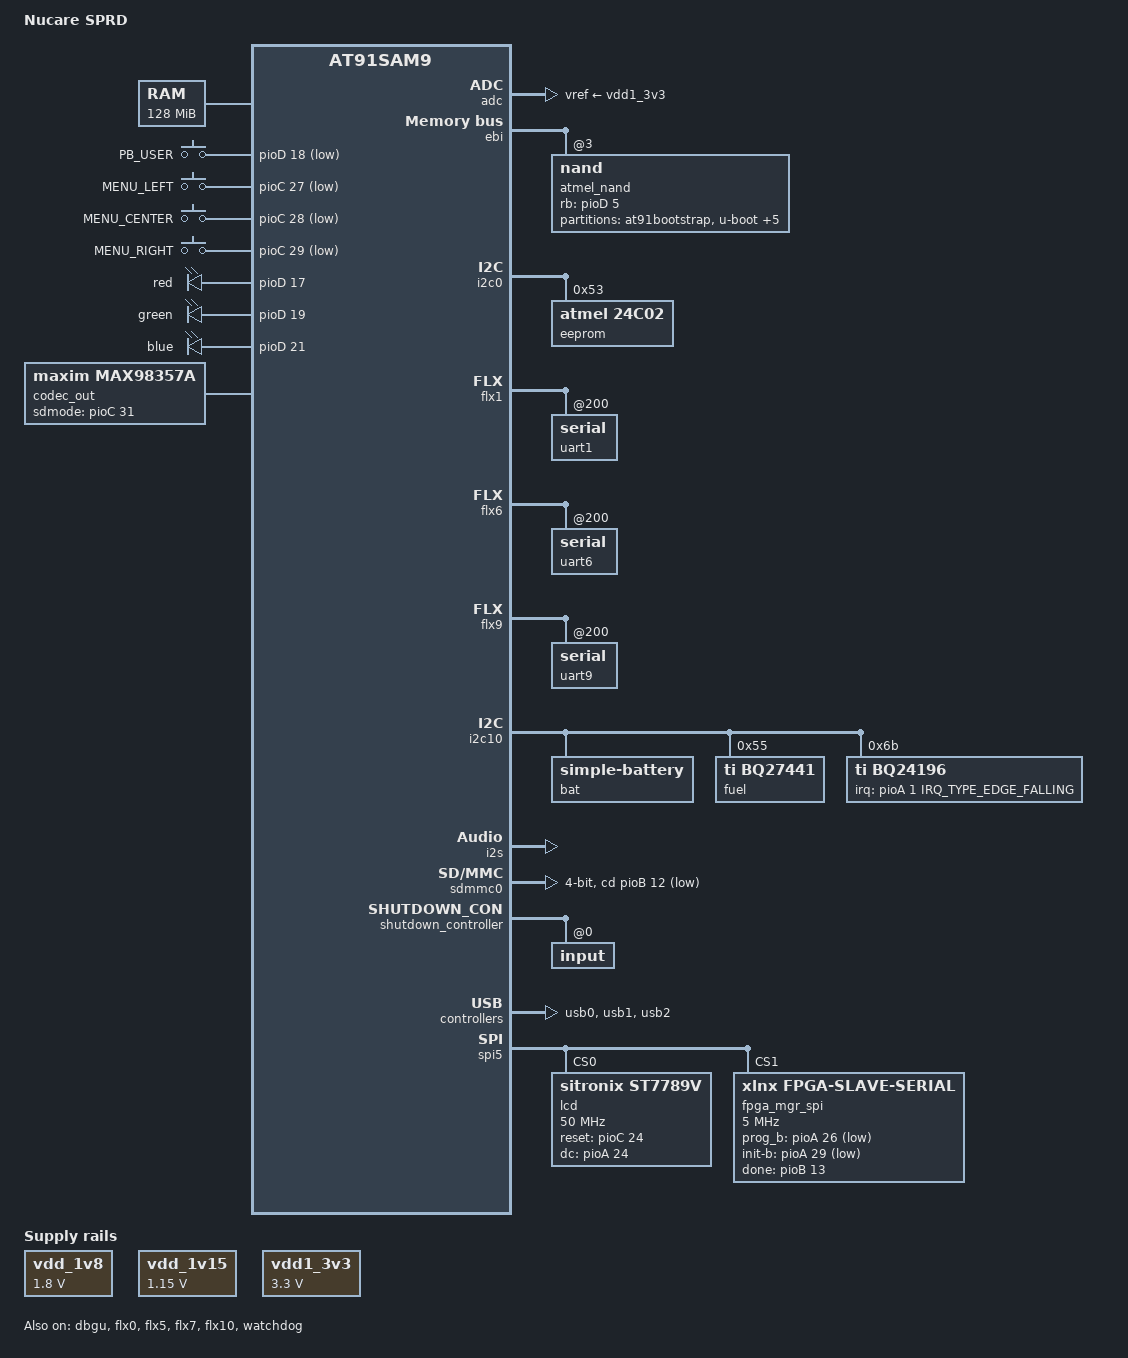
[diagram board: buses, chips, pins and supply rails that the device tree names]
// SPDX-License-Identifier: (GPL-2.0+ OR MIT)
/*
 * nc-sprd.dts - Device Tree file for Nucare SPRD board
 *
 *
 * Author: Nam Tran <nam.tran@nucaremed.com>
 */
/dts-v1/;
#include "sam9x60.dtsi"
#include <dt-bindings/input/input.h>

/ {
	model = "Nucare SPRD";
	compatible = "microchip,sam9x60-curiosity", "microchip,sam9x60", "atmel,at91sam9";

	aliases {
		i2c0 = &i2c0;
		i2c1 = &i2c6;
		serial1 = &uart6;		// Bluetooth
		serial2 = &uart1;		// FPGA
		serial3 = &uart9;		// GPS
		serial4 = &uart3;		// LTE
		// serial2 = &uart7;
	};

	chosen {
		stdout-path = "serial0:115200n8";
	};

	memory@20000000 {
		reg = <0x20000000 0x8000000>;
	};

	clocks {
		slow_xtal {
			clock-frequency = <32768>;
		};

		main_xtal {
			clock-frequency = <24000000>;
		};
	};

	keys: gpio-keys {
		compatible = "gpio-keys";
		pinctrl-names = "default";
		pinctrl-0 = <&pinctrl_key_gpio_default>;
		status = "okay";

		btn_user: button-user {
			label = "PB_USER";
			gpios = <&pioD 18 GPIO_ACTIVE_LOW>;
			linux,code = <KEY_PROG1>;
			wakeup-source;
		};

		btn_left: button-left {
			label = "MENU_LEFT";
			gpios = <&pioC 27 GPIO_ACTIVE_LOW>;
			linux,code = <BTN_TRIGGER_HAPPY1>;
			wakeup-source;
		};

		btn_center: button-center {
			label = "MENU_CENTER";
			gpios = <&pioC 28 GPIO_ACTIVE_LOW>;
			linux,code = <BTN_TRIGGER_HAPPY2>;
			wakeup-source;
		};

		btn_right: button-right {
			label = "MENU_RIGHT";
			gpios = <&pioC 29 GPIO_ACTIVE_LOW>;
			linux,code = <BTN_TRIGGER_HAPPY3>;
			wakeup-source;
		};
	};

	leds {
		compatible = "gpio-leds";
		pinctrl-names = "default";
		pinctrl-0 = <&pinctrl_gpio_leds>;
		status = "okay";

		red {
			label = "red";
			gpios = <&pioD 17 GPIO_ACTIVE_HIGH>;
		};

		green {
			label = "green";
			gpios = <&pioD 19 GPIO_ACTIVE_HIGH>;
		};

		blue {
			label = "blue";
			gpios = <&pioD 21 GPIO_ACTIVE_HIGH>;
			linux,default-trigger = "heartbeat";
		};
	};

	regulators: regulators {
		compatible = "simple-bus";
		#address-cells = <1>;
		#size-cells = <0>;

		vdd_1v8: fixed-regulator-vdd_1v8@0 {
			compatible = "regulator-fixed";
			regulator-name = "VDD_1V8";
			regulator-min-microvolt = <1800000>;
			regulator-max-microvolt = <1800000>;
			regulator-always-on;
			status = "okay";
		};

		vdd_1v15: fixed-regulator-vdd_1v15@1 {
			compatible = "regulator-fixed";
			regulator-name = "VDD_1V15";
			regulator-min-microvolt = <1150000>;
			regulator-max-microvolt = <1150000>;
			regulator-always-on;
			status = "okay";
		};

		vdd1_3v3: fixed-regulator-vdd1_3v3@2 {
			compatible = "regulator-fixed";
			regulator-name = "VDD1_3V3";
			regulator-min-microvolt = <3300000>;
			regulator-max-microvolt = <3300000>;
			regulator-always-on;
			status = "okay";
		};
	};

	sound {
		compatible = "simple-audio-card";
		simple-audio-card,name = "1334 Card";
		simple-audio-card,format = "i2s";
		simple-audio-card,bitclock-master = <&i2s>;
		simple-audio-card,frame-master = <&i2s>;
		simple-audio-card,cpu {
				#sound-dai-cells = <0>;
				sound-dai = <&i2s>;
			};
		codec_dai: simple-audio-card,codec {
			#sound-dai-cells = <0>;
			sound-dai = <&codec_out>;
		};
	};

	codec_out: max98357a {
                compatible = "maxim,max98357a";
                // #address-cells = <0>;
                // #size-cells = <0>;
                #sound-dai-cells = <0>;
                sdmode-gpios = <&pioC 31 GPIO_ACTIVE_HIGH>;
                sdmode-delay = <5>;
                status = "okay";
            };
};

&adc {
	vddana-supply = <&vdd1_3v3>;
	vref-supply = <&vdd1_3v3>;
	pinctrl-names = "default";
	pinctrl-0 = <&pinctrl_adc_default &pinctrl_adtrg_default>;
	status = "okay";
};

&can0 {
	pinctrl-names = "default";
	pinctrl-0 = <&pinctrl_can0_rx_tx>;
	status = "disabled"; /* Conflict with dbgu. */
};

&can1 {
	pinctrl-names = "default";
	pinctrl-0 = <&pinctrl_can1_rx_tx>;
	status = "disabled";
};

&dbgu {
	pinctrl-names = "default";
	pinctrl-0 = <&pinctrl_dbgu>;
	status = "okay"; /* Conflict with can0. */
};

&ebi {
	pinctrl-names = "default";
	pinctrl-0 = <&pinctrl_ebi_addr_nand &pinctrl_ebi_data_0_7>;
	status = "okay";

	nand_controller: nand-controller {
		pinctrl-names = "default";
		pinctrl-0 = <&pinctrl_nand_oe_we &pinctrl_nand_cs &pinctrl_nand_rb>;
		status = "okay";

		nand@3 {
			reg = <0x3 0x0 0x800000>;
			rb-gpios = <&pioD 5 GPIO_ACTIVE_HIGH>;
			cs-gpios = <&pioD 4 GPIO_ACTIVE_HIGH>;
			nand-bus-width = <8>;
			nand-ecc-mode = "hw";
			nand-ecc-strength = <8>;
			nand-ecc-step-size = <512>;
			nand-on-flash-bbt;
			label = "atmel_nand";

			partitions {
				compatible = "fixed-partitions";
				#address-cells = <1>;
				#size-cells = <1>;

				at91bootstrap@0 {
					label = "at91bootstrap";
					reg = <0x0 0x40000>;
				};

				uboot@40000 {
					label = "u-boot";
					reg = <0x40000 0xc0000>;
				};

				ubootenvred@100000 {
					label = "U-Boot Env Redundant";
					reg = <0x100000 0x40000>;
				};

				ubootenv@140000 {
					label = "U-Boot Env";
					reg = <0x140000 0x40000>;
				};

				dtb@180000 {
					label = "device tree";
					reg = <0x180000 0x80000>;
				};

				kernel@200000 {
					label = "kernel";
					reg = <0x200000 0x600000>;
				};

				rootfs@800000 {
					label = "rootfs";
					reg = <0x800000 0x1f800000>;
				};
			};
		};
	};
};

&flx0 {
	atmel,flexcom-mode = <ATMEL_FLEXCOM_MODE_TWI>;
	status = "okay";

	i2c0: i2c@600 {
//		dmas = <0>, <0>;
		pinctrl-names = "default";
		pinctrl-0 = <&pinctrl_flx0_default>;
//		i2c-analog-filter;
//		i2c-digital-filter;
//		i2c-digital-filter-width-ns = <35>;
		status = "okay";

		eeprom@53 {
			compatible = "atmel,24c02";
			reg = <0x53>;
			pagesize = <16>;
			status = "okay";
		};
	};
};

&flx1 {
	atmel,flexcom-mode = <ATMEL_FLEXCOM_MODE_USART>;
	status = "okay";

	uart1: serial@200 {
		#address-cells = <1>;
		#size-cells = <0>;
		pinctrl-names = "default";
		pinctrl-0 = <&pinctrl_flx1_default>;
		status = "okay";
	};
};

&flx5 {
	atmel,flexcom-mode = <ATMEL_FLEXCOM_MODE_SPI>;
	status = "okay";
};

&flx6 {
	atmel,flexcom-mode = <ATMEL_FLEXCOM_MODE_USART>;
	status = "okay";

	i2c6: i2c@600 {
		dmas = <0>, <0>;
		pinctrl-names = "default";
		pinctrl-0 = <&pinctrl_flx6_default>;
		i2c-analog-filter;
		i2c-digital-filter;
		i2c-digital-filter-width-ns = <35>;
		status = "disabled";
	};

	// Bluetooth uart
	uart6: serial@200 {
		#address-cells = <1>;
		#size-cells = <0>;
		pinctrl-names = "default";
		pinctrl-0 = <&pinctrl_flx6_uart>;
		status = "okay";
	};
};

&flx7 {
	atmel,flexcom-mode = <ATMEL_FLEXCOM_MODE_USART>;
	status = "okay";

	uart7: serial@200 {
		#address-cells = <1>;
		#size-cells = <0>;
		pinctrl-names = "default";
		pinctrl-0 = <&pinctrl_flx7_default>;
		status = "disabled";
	};
};

&flx9 {
	atmel,flexcom-mode = <ATMEL_FLEXCOM_MODE_USART>;
	status = "okay";

	// Uart port for GPS
	uart9: serial@200 {
		#address-cells = <1>;
		#size-cells = <0>;
		pinctrl-names = "default";
		pinctrl-0 = <&pinctrl_flx9_default>;
		status = "okay";
	};
};

&flx10 {
	atmel,flexcom-mode = <ATMEL_FLEXCOM_MODE_TWI>;
	status = "okay";

	i2c10: i2c@600 {
		dmas = <0>, <0>;
		#address-cells = <1>;
		#size-cells = <0>;
		pinctrl-names = "default";
		pinctrl-0 = <&pinctrl_flx10_default>;
		status = "okay";

		bat: battery {
			compatible = "simple-battery";
			precharge-current-microamp = <150000>;
			charge-term-current-microamp = <150000>;
			constant-charge-current-max-microamp = <2000000>;
			constant-charge-voltage-max-microvolt = <4200000>;

			voltage-max-design-microvolt = <4200000>;
			voltage-min-design-microvolt = <2800000>;
        	energy-full-design-microwatt-hours = <12060000>;
        	charge-full-design-microamp-hours = <3350000>;
    	};

		fuel: fuel@55 {
			compatible = "ti,bq27441";
			reg = <0x55>;
			monitored-battery = <&bat>;
		};

		bq24196: charger@6b {
			compatible = "ti,bq24196";
			reg = <0x6b>;
			interrupt-parent = <&pioA>;
			interrupts = <1 IRQ_TYPE_EDGE_FALLING 1>;
	//		pinctrl-names = "default";
	//		pinctrl-0 = <&charger_int &chg_ctl &otg_en>;
	//		pinctrl-0 = <&pinctrl_usba_vbus>;
			ti,system-minimum-microvolt = <3200000>;
			monitored-battery = <&bat>;
			omit-battery-class;

			usb_otg_vbus: usb-otg-vbus { };
		};
	};
};

&i2s {
	pinctrl-names = "default";
	pinctrl-0 = <&pinctrl_i2s_default>;
	#sound-dai-cells = <0>;
	status = "okay"; /* Conflict with QSPI. */
};

&macb0 {
	phy-mode = "rmii";
	#address-cells = <1>;
	#size-cells = <0>;
	pinctrl-names = "default";
	pinctrl-0 = <&pinctrl_macb0_rmii>;
	status = "disabled";

	ethernet-phy@0 {
		reg = <0x0>;
	};
};

&pinctrl {
	adc {
		pinctrl_adc_default: adc_default {
			atmel,pins = <AT91_PIOB 14 AT91_PERIPH_A AT91_PINCTRL_NONE>;
		};

		pinctrl_adtrg_default: adtrg_default {
			atmel,pins = <AT91_PIOB 18 AT91_PERIPH_B AT91_PINCTRL_PULL_UP>;
		};
	};

	can0 {
		pinctrl_can0_rx_tx: can0_rx_tx {
			atmel,pins =
				<AT91_PIOA 9 AT91_PERIPH_B AT91_PINCTRL_NONE	/* CANRX0 */
				 AT91_PIOA 10 AT91_PERIPH_B AT91_PINCTRL_NONE	/* CANTX0 */
				 AT91_PIOC 9 AT91_PERIPH_GPIO AT91_PINCTRL_PULL_DOWN>;	/* Enable CAN Transceivers */
		};
	};

	can1 {
		pinctrl_can1_rx_tx: can1_rx_tx {
			atmel,pins =
				<AT91_PIOA 6 AT91_PERIPH_B AT91_PINCTRL_NONE	/* CANRX1 */
				 AT91_PIOA 5 AT91_PERIPH_B AT91_PINCTRL_NONE	/* CANTX1 */
				 AT91_PIOB 17 AT91_PERIPH_GPIO AT91_PINCTRL_PULL_DOWN>;	/* Enable CAN Transceivers */
		};
	};

	dbgu {
		pinctrl_dbgu: dbgu-0 {
			atmel,pins = <AT91_PIOA 9 AT91_PERIPH_A AT91_PINCTRL_PULL_UP
				      AT91_PIOA 10 AT91_PERIPH_A AT91_PINCTRL_NONE>;
		};
	};

	ebi {
		pinctrl_ebi_data_0_7: ebi-data-lsb-0 {
			atmel,pins =
				<AT91_PIOD 6 AT91_PERIPH_A (AT91_PINCTRL_NONE | AT91_PINCTRL_SLEWRATE_DIS)
				 AT91_PIOD 7 AT91_PERIPH_A (AT91_PINCTRL_NONE | AT91_PINCTRL_SLEWRATE_DIS)
				 AT91_PIOD 8 AT91_PERIPH_A (AT91_PINCTRL_NONE | AT91_PINCTRL_SLEWRATE_DIS)
				 AT91_PIOD 9 AT91_PERIPH_A (AT91_PINCTRL_NONE | AT91_PINCTRL_SLEWRATE_DIS)
				 AT91_PIOD 10 AT91_PERIPH_A (AT91_PINCTRL_NONE | AT91_PINCTRL_SLEWRATE_DIS)
				 AT91_PIOD 11 AT91_PERIPH_A (AT91_PINCTRL_NONE | AT91_PINCTRL_SLEWRATE_DIS)
				 AT91_PIOD 12 AT91_PERIPH_A (AT91_PINCTRL_NONE | AT91_PINCTRL_SLEWRATE_DIS)
				 AT91_PIOD 13 AT91_PERIPH_A (AT91_PINCTRL_NONE | AT91_PINCTRL_SLEWRATE_DIS)>;
		};

		pinctrl_ebi_data_0_15: ebi-data-msb-0 {
			atmel,pins =
				<AT91_PIOD 6 AT91_PERIPH_A AT91_PINCTRL_NONE
				 AT91_PIOD 7 AT91_PERIPH_A AT91_PINCTRL_NONE
				 AT91_PIOD 8 AT91_PERIPH_A AT91_PINCTRL_NONE
				 AT91_PIOD 9 AT91_PERIPH_A AT91_PINCTRL_NONE
				 AT91_PIOD 10 AT91_PERIPH_A AT91_PINCTRL_NONE
				 AT91_PIOD 11 AT91_PERIPH_A AT91_PINCTRL_NONE
				 AT91_PIOD 12 AT91_PERIPH_A AT91_PINCTRL_NONE
				 AT91_PIOD 13 AT91_PERIPH_A AT91_PINCTRL_NONE
				 AT91_PIOD 14 AT91_PERIPH_A AT91_PINCTRL_NONE
				 AT91_PIOD 15 AT91_PERIPH_A AT91_PINCTRL_NONE
				 AT91_PIOD 16 AT91_PERIPH_A AT91_PINCTRL_NONE
				 AT91_PIOD 17 AT91_PERIPH_A AT91_PINCTRL_NONE
				 AT91_PIOD 18 AT91_PERIPH_A AT91_PINCTRL_NONE
				 AT91_PIOD 19 AT91_PERIPH_A AT91_PINCTRL_NONE
				 AT91_PIOD 20 AT91_PERIPH_A AT91_PINCTRL_NONE
				 AT91_PIOD 21 AT91_PERIPH_A AT91_PINCTRL_NONE>;
		};

		pinctrl_ebi_addr_nand: ebi-addr-0 {
			atmel,pins =
				<AT91_PIOD 2 AT91_PERIPH_A (AT91_PINCTRL_NONE | AT91_PINCTRL_SLEWRATE_DIS)
				 AT91_PIOD 3 AT91_PERIPH_A (AT91_PINCTRL_NONE | AT91_PINCTRL_SLEWRATE_DIS)>;
		};
	};

	flexcom {
		pinctrl_flx0_default: flx0_twi {
			atmel,pins =
				<AT91_PIOA 0 AT91_PERIPH_A AT91_PINCTRL_NONE
				 AT91_PIOA 1 AT91_PERIPH_A AT91_PINCTRL_NONE>;
		};
		pinctrl_flx3_default: flx3_twi {
			atmel,pins =
				<AT91_PIOC 22 AT91_PERIPH_B AT91_PINCTRL_PULL_UP
				 AT91_PIOC 23 AT91_PERIPH_B AT91_PINCTRL_PULL_UP>;
		};
		pinctrl_flx3_uart: flx3_uart {
			atmel,pins =
				<AT91_PIOC 22 AT91_PERIPH_B AT91_PINCTRL_NONE
				 AT91_PIOC 23 AT91_PERIPH_B AT91_PINCTRL_NONE>;
		};
		pinctrl_lcd: lcd_spi {
			atmel,pins =
				<AT91_PIOA 21 AT91_PERIPH_B AT91_PINCTRL_NONE
				 AT91_PIOA 22 AT91_PERIPH_B AT91_PINCTRL_NONE
				 AT91_PIOA 23 AT91_PERIPH_B AT91_PINCTRL_NONE
				 AT91_PIOA 8 AT91_PERIPH_B AT91_PINCTRL_NONE
				 AT91_PIOA 7 AT91_PERIPH_B AT91_PINCTRL_NONE>;
		};

		pinctrl_spi5_no_cs: spi5_pins_no_cs {
			atmel,pins =
				<AT91_PIOA 21 AT91_PERIPH_B AT91_PINCTRL_NONE
				 AT91_PIOA 22 AT91_PERIPH_B AT91_PINCTRL_NONE
				 AT91_PIOA 23 AT91_PERIPH_B AT91_PINCTRL_NONE>;
		};

		pinctrl_flx6_default: flx6_twi {
			atmel,pins =
				<AT91_PIOA 30 AT91_PERIPH_A AT91_PINCTRL_PULL_UP
				 AT91_PIOA 31 AT91_PERIPH_A AT91_PINCTRL_PULL_UP>;
		};

		pinctrl_flx6_uart: flx6_uart {
			atmel,pins =
				<AT91_PIOA 30 AT91_PERIPH_A AT91_PINCTRL_NONE
				 AT91_PIOA 31 AT91_PERIPH_A AT91_PINCTRL_NONE>;
		};

		pinctrl_flx1_default: flx1_usart {
			atmel,pins =
				<AT91_PIOA 5 AT91_PERIPH_A AT91_PINCTRL_NONE
				 AT91_PIOA 6 AT91_PERIPH_A AT91_PINCTRL_NONE>;
		};

		pinctrl_flx7_default: flx7_usart {
			atmel,pins =
				<AT91_PIOC 0 AT91_PERIPH_C AT91_PINCTRL_NONE
				 AT91_PIOC 1 AT91_PERIPH_C AT91_PINCTRL_NONE>;
		};

		pinctrl_flx9_default: flx9_usart {
			atmel,pins =
				<AT91_PIOC 8 AT91_PERIPH_C AT91_PINCTRL_NONE
				 AT91_PIOC 9 AT91_PERIPH_C AT91_PINCTRL_NONE>;
		};

		pinctrl_flx10_default: flx10_twi {
			atmel,pins =
				<AT91_PIOC 16 AT91_PERIPH_C AT91_PINCTRL_PULL_UP
				 AT91_PIOC 17 AT91_PERIPH_C AT91_PINCTRL_PULL_UP>;
		};
	};

	i2s {
		pinctrl_i2s_default: i2s {
			atmel,pins =
				<AT91_PIOB 19 AT91_PERIPH_B AT91_PINCTRL_NONE		/* I2SCK */
				 AT91_PIOB 20 AT91_PERIPH_B AT91_PINCTRL_NONE		/* I2SWS */
				 AT91_PIOB 21 AT91_PERIPH_B AT91_PINCTRL_NONE		/* I2SDIN */
				 AT91_PIOB 22 AT91_PERIPH_B AT91_PINCTRL_NONE		/* I2SDOUT */
				 AT91_PIOB 23 AT91_PERIPH_B AT91_PINCTRL_NONE		/* I2SMCK */
				 AT91_PIOC 31 AT91_PERIPH_GPIO AT91_PINCTRL_PULL_UP		// Audio_EN
				>;
		};
	};

	gpio_keys {
		pinctrl_key_gpio_default: pinctrl_key_gpio {
			atmel,pins =
			<
			AT91_PIOD 18 AT91_PERIPH_GPIO AT91_PINCTRL_NONE
			AT91_PIOC 27 AT91_PERIPH_GPIO AT91_PINCTRL_NONE
			AT91_PIOC 28 AT91_PERIPH_GPIO AT91_PINCTRL_NONE
			AT91_PIOC 29 AT91_PERIPH_GPIO AT91_PINCTRL_NONE>;
		};
	};

	leds {
		pinctrl_gpio_leds: gpio_leds {
			atmel,pins = <AT91_PIOD 17 AT91_PERIPH_GPIO AT91_PINCTRL_NONE
				      AT91_PIOD 19 AT91_PERIPH_GPIO AT91_PINCTRL_NONE
				      AT91_PIOD 21 AT91_PERIPH_GPIO AT91_PINCTRL_NONE>;
		};
	};

	macb0 {
		pinctrl_macb0_rmii: macb0_rmii-0 {
			atmel,pins =
				<AT91_PIOB 0 AT91_PERIPH_A AT91_PINCTRL_NONE	/* PB0 periph A */
				 AT91_PIOB 1 AT91_PERIPH_A AT91_PINCTRL_NONE	/* PB1 periph A */
				 AT91_PIOB 2 AT91_PERIPH_A AT91_PINCTRL_NONE	/* PB2 periph A */
				 AT91_PIOB 3 AT91_PERIPH_A AT91_PINCTRL_NONE	/* PB3 periph A */
				 AT91_PIOB 4 AT91_PERIPH_A AT91_PINCTRL_NONE	/* PB4 periph A */
				 AT91_PIOB 5 AT91_PERIPH_A AT91_PINCTRL_NONE	/* PB5 periph A */
				 AT91_PIOB 6 AT91_PERIPH_A AT91_PINCTRL_NONE	/* PB6 periph A */
				 AT91_PIOB 7 AT91_PERIPH_A AT91_PINCTRL_NONE	/* PB7 periph A */
				 AT91_PIOB 9 AT91_PERIPH_A AT91_PINCTRL_NONE	/* PB9 periph A */
				 AT91_PIOB 10 AT91_PERIPH_A AT91_PINCTRL_NONE>;	/* PB10 periph A */
		};
	};

	nand {
		pinctrl_nand_oe_we: nand-oe-we-0 {
			atmel,pins =
				<AT91_PIOD 0 AT91_PERIPH_A (AT91_PINCTRL_NONE | AT91_PINCTRL_SLEWRATE_DIS)
				 AT91_PIOD 1 AT91_PERIPH_A (AT91_PINCTRL_NONE | AT91_PINCTRL_SLEWRATE_DIS)>;
		};

		pinctrl_nand_rb: nand-rb-0 {
			atmel,pins =
				<AT91_PIOD 5 AT91_PERIPH_GPIO AT91_PINCTRL_PULL_UP>;
		};

		pinctrl_nand_cs: nand-cs-0 {
			atmel,pins =
				<AT91_PIOD 4 AT91_PERIPH_GPIO AT91_PINCTRL_PULL_UP>;
		};
	};

	pwm0 {
		pinctrl_pwm0_0: pwm0_0 {
			atmel,pins = <AT91_PIOB 12 AT91_PERIPH_B AT91_PINCTRL_NONE>;
		};

		pinctrl_pwm0_1: pwm0_1 {
			atmel,pins = <AT91_PIOB 13 AT91_PERIPH_B AT91_PINCTRL_NONE>;
		};

		pinctrl_pwm0_2: pwm0_2 {
			atmel,pins = <AT91_PIOD 16 AT91_PERIPH_B AT91_PINCTRL_NONE>;
		};
	};

	sdmmc0 {
		pinctrl_sdmmc0_default: sdmmc0 {
			atmel,pins =
				<AT91_PIOA 17 AT91_PERIPH_A (AT91_PINCTRL_DRIVE_STRENGTH_HI)				/* PA17 CK  periph A with pullup */
				 AT91_PIOA 16 AT91_PERIPH_A (AT91_PINCTRL_PULL_UP | AT91_PINCTRL_DRIVE_STRENGTH_HI)	/* PA16 CMD periph A with pullup */
				 AT91_PIOA 15 AT91_PERIPH_A (AT91_PINCTRL_PULL_UP | AT91_PINCTRL_DRIVE_STRENGTH_HI)	/* PA15 DAT0 periph A */
				 AT91_PIOA 18 AT91_PERIPH_A (AT91_PINCTRL_PULL_UP | AT91_PINCTRL_DRIVE_STRENGTH_HI)	/* PA18 DAT1 periph A with pullup */
				 AT91_PIOA 19 AT91_PERIPH_A (AT91_PINCTRL_PULL_UP | AT91_PINCTRL_DRIVE_STRENGTH_HI)	/* PA19 DAT2 periph A with pullup */
				 AT91_PIOA 20 AT91_PERIPH_A (AT91_PINCTRL_PULL_UP | AT91_PINCTRL_DRIVE_STRENGTH_HI)>;	/* PA20 DAT3 periph A with pullup */
		};
		pinctrl_sdmmc0_cd: sdmmc0_cd {
			atmel,pins =
				<AT91_PIOB 12 AT91_PERIPH_GPIO AT91_PINCTRL_NONE>;
		};
	};

	sdmmc1 {
		pinctrl_sdmmc1_default: sdmmc1 {
			atmel,pins =
				<AT91_PIOA 13 AT91_PERIPH_B (AT91_PINCTRL_DRIVE_STRENGTH_HI)				/* PA13 CK periph B */
				 AT91_PIOA 12 AT91_PERIPH_B (AT91_PINCTRL_PULL_UP | AT91_PINCTRL_DRIVE_STRENGTH_HI)	/* PA12 CMD periph B with pullup */
				 AT91_PIOA 11 AT91_PERIPH_B (AT91_PINCTRL_PULL_UP | AT91_PINCTRL_DRIVE_STRENGTH_HI)	/* PA11 DAT0 periph B with pullup */
				 AT91_PIOA  2 AT91_PERIPH_B (AT91_PINCTRL_PULL_UP | AT91_PINCTRL_DRIVE_STRENGTH_HI)	/* PA2 DAT1 periph B with pullup */
				 AT91_PIOA  3 AT91_PERIPH_B (AT91_PINCTRL_PULL_UP | AT91_PINCTRL_DRIVE_STRENGTH_HI)	/* PA3 DAT2 periph B with pullup */
				 AT91_PIOA  4 AT91_PERIPH_B (AT91_PINCTRL_PULL_UP | AT91_PINCTRL_DRIVE_STRENGTH_HI)>;	/* PA4 DAT3 periph B with pullup */
		};
	};

	usb0 {
		pinctrl_usba_vbus: usba_vbus {
			atmel,pins = <AT91_PIOA 27 AT91_PERIPH_GPIO AT91_PINCTRL_PULL_DOWN>;
		};
	};

	usb1 {
		pinctrl_usb_default: usb_default {
			atmel,pins = <AT91_PIOD 18 AT91_PERIPH_GPIO AT91_PINCTRL_NONE
				      AT91_PIOD 15 AT91_PERIPH_GPIO AT91_PINCTRL_NONE>;
		};
	};
}; /* pinctrl */

&pwm0 {
	pinctrl-names = "default";
	pinctrl-0 = <&pinctrl_pwm0_0 &pinctrl_pwm0_1 &pinctrl_pwm0_2>;
	status = "disabled";
};

&sdmmc0 {
	bus-width = <4>;
	pinctrl-names = "default";
	pinctrl-0 = <&pinctrl_sdmmc0_default &pinctrl_sdmmc0_cd>;
	cd-gpios = <&pioB 12 GPIO_ACTIVE_LOW>;
	disable-wp;
	status = "okay";
};

&sdmmc1 {
	bus-width = <4>;
	pinctrl-names = "default";
	pinctrl-0 = <&pinctrl_sdmmc1_default>;
	status = "disabled";
};

&rtt {
	atmel,rtt-rtc-time-reg = <&gpbr 0x0>;
};

&shutdown_controller {
	debounce-delay-us = <976>;
	status = "okay";

	input@0 {
		reg = <0>;
	};
};

&tcb0 {
	timer0: timer@0 {
		compatible = "atmel,tcb-timer";
		reg = <0>;
	};

	timer1: timer@1 {
		compatible = "atmel,tcb-timer";
		reg = <1>;
	};
};

&usb0 {
	atmel,vbus-gpio = <&pioA 27 GPIO_ACTIVE_HIGH>;
	atmel,id-gpio = <&pioC 21 GPIO_ACTIVE_LOW>;
	pinctrl-names = "default";
	pinctrl-0 = <&pinctrl_usba_vbus>;
	status = "okay";
};

&usb1 {
	num-ports = <1>;
	atmel,vbus-gpio = <&pioA 27 GPIO_ACTIVE_HIGH>;
	atmel,id-gpio = <&pioC 21 GPIO_ACTIVE_LOW>;
	status = "okay";
};

&usb2 {

	status = "okay";
};

&watchdog {
	status = "okay";
};

&spi5 {
	pinctrl-names = "default";
	pinctrl-0 = <&pinctrl_lcd>;
	#address-cells = <1>;
	#size-cells = <0>;
	status = "okay";

	lcd:lcd@0 {
		compatible = "sitronix,st7789v";
		buswidth = <8>;
		reg = <0>;
		pinctrl-name = "default";
		rotation = <180>;
		spi-max-frequency = <50000000>;
		write-only;
		spi-cpol;
		spi-cpha;
		reset-gpios= <&pioC 24 0>;
		dc-gpios= <&pioA 24 0>;
		status = "okay";
	};

    fpga_mgr_spi: fpga@1 {
        compatible = "xlnx,fpga-slave-serial";
        reg = <1>;                          /* chip select 1 */
        spi-max-frequency = <5000000>;     /* CCLK ~= 5 MHz */
		spi-cpha;
		prog_b-gpios = <&pioA 26 GPIO_ACTIVE_LOW>;
		init-b-gpios = <&pioA 29 GPIO_ACTIVE_LOW>;
		done-gpios   = <&pioB 13 GPIO_ACTIVE_HIGH>;
		status = "okay";
    };
};
